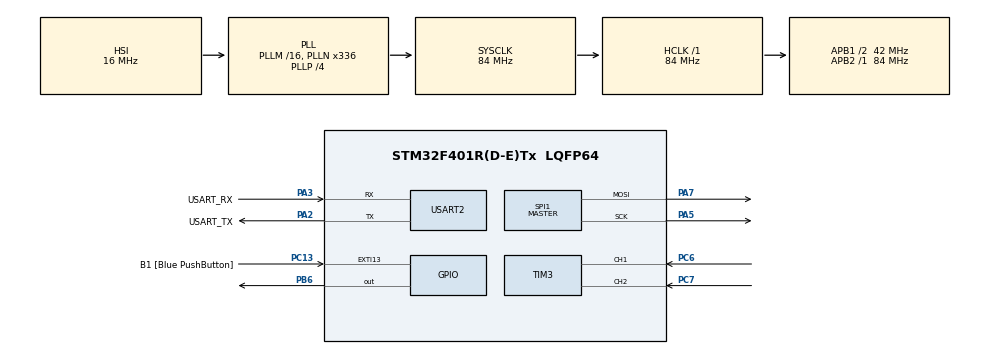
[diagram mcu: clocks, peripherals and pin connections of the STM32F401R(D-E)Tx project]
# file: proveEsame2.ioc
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Dma.Request0=SPI1_TX
Dma.SPI1_TX.0.Direction=DMA_MEMORY_TO_PERIPH
Dma.SPI1_TX.0.FIFOMode=DMA_FIFOMODE_DISABLE
Dma.SPI1_TX.0.Instance=DMA2_Stream3
Dma.SPI1_TX.0.MemDataAlignment=DMA_MDATAALIGN_BYTE
Dma.SPI1_TX.0.MemInc=DMA_MINC_ENABLE
Dma.SPI1_TX.0.Mode=DMA_NORMAL
Dma.SPI1_TX.0.PeriphDataAlignment=DMA_PDATAALIGN_BYTE
Dma.SPI1_TX.0.PeriphInc=DMA_PINC_DISABLE
Dma.SPI1_TX.0.Priority=DMA_PRIORITY_LOW
Mcu.Family=STM32F4
Mcu.Name=STM32F401R(D-E)Tx
Mcu.Package=LQFP64
NVIC.DMA2_Stream3_IRQn=true\:0\:0\:false\:false\:true\:false\:true
NVIC.PriorityGroup=NVIC_PRIORITYGROUP_0
NVIC.SPI1_IRQn=true\:0\:0\:false\:false\:true\:true\:true
NVIC.TIM1_UP_TIM10_IRQn=true\:0\:0\:false\:false\:true\:true\:true
PA13.GPIO_Label=TMS
PA13.Mode=Serial_Wire
PA13.Signal=SYS_JTMS-SWDIO
PA14.GPIO_Label=TCK
PA14.Mode=Serial_Wire
PA14.Signal=SYS_JTCK-SWCLK
PA2.GPIO_Label=USART_TX
PA2.GPIO_Mode=GPIO_MODE_AF_PP
PA2.GPIO_PuPd=GPIO_NOPULL
PA2.GPIO_Speed=GPIO_SPEED_FREQ_LOW
PA2.Mode=Asynchronous
PA2.Signal=USART2_TX
PA3.GPIO_Label=USART_RX
PA3.GPIO_Mode=GPIO_MODE_AF_PP
PA3.GPIO_PuPd=GPIO_NOPULL
PA3.GPIO_Speed=GPIO_SPEED_FREQ_LOW
PA3.Mode=Asynchronous
PA3.Signal=USART2_RX
PA5.Mode=TX_Only_Simplex_Unidirect_Master
PA5.Signal=SPI1_SCK
PA7.Mode=TX_Only_Simplex_Unidirect_Master
PA7.Signal=SPI1_MOSI
PB3.GPIO_Label=SWO
PB3.Signal=SYS_JTDO-SWO
PB6.Signal=GPIO_Output
PC13-ANTI_TAMP.GPIO_Label=B1 [Blue PushButton]
PC13-ANTI_TAMP.GPIO_ModeDefaultEXTI=GPIO_MODE_IT_FALLING
PC13-ANTI_TAMP.GPIO_PuPd=GPIO_NOPULL
PC13-ANTI_TAMP.Signal=GPXTI13
PC14-OSC32_IN.Mode=LSE-External-Oscillator
PC14-OSC32_IN.Signal=RCC_OSC32_IN
PC15-OSC32_OUT.Mode=LSE-External-Oscillator
PC15-OSC32_OUT.Signal=RCC_OSC32_OUT
PC6.Signal=S_TIM3_CH1
PC7.Signal=S_TIM3_CH2
PH0\ -\ OSC_IN.Mode=HSE-External-Clock-Source
PH0\ -\ OSC_IN.Signal=RCC_OSC_IN
PH1\ -\ OSC_OUT.Mode=HSE-External-Clock-Source
PH1\ -\ OSC_OUT.Signal=RCC_OSC_OUT
ProjectManager.HeapSize=0x200
ProjectManager.StackSize=0x400
ProjectManager.TargetToolchain=STM32CubeIDE
RCC.48MHZClocksFreq_Value=48000000
RCC.AHBFreq_Value=84000000
RCC.APB1CLKDivider=RCC_HCLK_DIV2
RCC.APB1Freq_Value=42000000
RCC.APB1TimFreq_Value=84000000
RCC.APB2Freq_Value=84000000
RCC.APB2TimFreq_Value=84000000
RCC.CortexFreq_Value=84000000
RCC.HCLKFreq_Value=84000000
RCC.HSE_VALUE=8000000
RCC.HSI_VALUE=16000000
RCC.PLLN=336
RCC.PLLP=RCC_PLLP_DIV4
RCC.PLLQ=7
RCC.SYSCLKFreq_VALUE=84000000
RCC.SYSCLKSource=RCC_SYSCLKSOURCE_PLLCLK
RCC.VCOOutputFreq_Value=336000000
SH.S_TIM3_CH1.0=TIM3_CH1,Encoder_Interface
SH.S_TIM3_CH2.0=TIM3_CH2,Encoder_Interface
SPI1.BaudRatePrescaler=SPI_BAUDRATEPRESCALER_8
SPI1.Direction=SPI_DIRECTION_2LINES
SPI1.Mode=SPI_MODE_MASTER
SPI1.VirtualType=VM_MASTER
TIM10.Period=40-1
TIM10.Prescaler=4800-1
TIM3.IC1Polarity=TIM_ICPOLARITY_RISING
TIM3.IC2Polarity=TIM_ICPOLARITY_FALLING
USART2.VirtualMode=VM_ASYNC
VP_TIM10_VS_ClockSourceINT.Mode=Enable_Timer
board=NUCLEO-F401RE

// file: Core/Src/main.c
/* USER CODE BEGIN Header */
/**
 ******************************************************************************
 * @file           : main.c
 * @brief          : Main program body
 ******************************************************************************
 * @attention
 *
 * <h2><center>&copy; Copyright (c) 2022 STMicroelectronics.
 * All rights reserved.</center></h2>
 *
 * This software component is licensed by ST under BSD 3-Clause license,
 * the "License"; You may not use this file except in compliance with the
 * License. You may obtain a copy of the License at:
 *                        opensource.org/licenses/BSD-3-Clause
 *
 ******************************************************************************
 */
/* USER CODE END Header */
#include "main.h"

SPI_HandleTypeDef hspi1;
DMA_HandleTypeDef hdma_spi1_tx;

TIM_HandleTypeDef htim3;
TIM_HandleTypeDef htim10;

UART_HandleTypeDef huart2;

void SystemClock_Config(void);
static void MX_GPIO_Init(void);
static void MX_USART2_UART_Init(void);
static void MX_DMA_Init(void);
static void MX_SPI1_Init(void);
static void MX_TIM10_Init(void);
static void MX_TIM3_Init(void);

/* USER CODE BEGIN 0 */
int nCol = 0;

uint8_t **letter;
uint8_t letter_A[7][5] = { { 30, 16 }, { 36, 8 }, { 68, 4 }, { 36, 2 },
		{ 31, 1 } };

/* USER CODE END 0 */

int main(void) {

	/* MCU Configuration--------------------------------------------------------*/

	/* Reset of all peripherals, Initializes the Flash interface and the Systick. */
	HAL_Init();

	/* Configure the system clock */
	SystemClock_Config();

	/* USER CODE BEGIN SysInit */
	MX_DMA_Init();
	/* USER CODE END SysInit */

	/* Initialize all configured peripherals */
	MX_GPIO_Init();
	MX_USART2_UART_Init();
	MX_DMA_Init();
	MX_SPI1_Init();
	MX_TIM10_Init();
	MX_TIM3_Init();
	/* USER CODE BEGIN 2 */
	HAL_TIM_Base_Start_IT(&htim10);
	HAL_TIM_Encoder_Start(&htim3, TIM_CHANNEL_ALL);
	/* USER CODE END 2 */

	/* Infinite loop */
	/* USER CODE BEGIN WHILE */
	char msg[64];
	while (1) {
		int len = sprintf(msg, "encoder: %d\r\n",
				__HAL_TIM_GET_COUNTER(&htim3));
		HAL_UART_Transmit(&huart2, msg, len, 1000);
		letter = letter_A;
		HAL_Delay(500);
		letter = letter_A;
		HAL_Delay(500);
		/* USER CODE END WHILE */

	}
}

void SystemClock_Config(void) {
	RCC_OscInitTypeDef RCC_OscInitStruct = { 0 };
	RCC_ClkInitTypeDef RCC_ClkInitStruct = { 0 };

	/** Configure the main internal regulator output voltage
	 */
	__HAL_RCC_PWR_CLK_ENABLE();
	__HAL_PWR_VOLTAGESCALING_CONFIG(PWR_REGULATOR_VOLTAGE_SCALE2);
	/** Initializes the RCC Oscillators according to the specified parameters
	 * in the RCC_OscInitTypeDef structure.
	 */
	RCC_OscInitStruct.OscillatorType = RCC_OSCILLATORTYPE_HSI;
	RCC_OscInitStruct.HSIState = RCC_HSI_ON;
	RCC_OscInitStruct.HSICalibrationValue = RCC_HSICALIBRATION_DEFAULT;
	RCC_OscInitStruct.PLL.PLLState = RCC_PLL_ON;
	RCC_OscInitStruct.PLL.PLLSource = RCC_PLLSOURCE_HSI;
	RCC_OscInitStruct.PLL.PLLM = 16;
	RCC_OscInitStruct.PLL.PLLN = 336;
	RCC_OscInitStruct.PLL.PLLP = RCC_PLLP_DIV4;
	RCC_OscInitStruct.PLL.PLLQ = 7;
	if (HAL_RCC_OscConfig(&RCC_OscInitStruct) != HAL_OK) {
		Error_Handler();
	}
	/** Initializes the CPU, AHB and APB buses clocks
	 */
	RCC_ClkInitStruct.ClockType = RCC_CLOCKTYPE_HCLK | RCC_CLOCKTYPE_SYSCLK
			| RCC_CLOCKTYPE_PCLK1 | RCC_CLOCKTYPE_PCLK2;
	RCC_ClkInitStruct.SYSCLKSource = RCC_SYSCLKSOURCE_PLLCLK;
	RCC_ClkInitStruct.AHBCLKDivider = RCC_SYSCLK_DIV1;
	RCC_ClkInitStruct.APB1CLKDivider = RCC_HCLK_DIV2;
	RCC_ClkInitStruct.APB2CLKDivider = RCC_HCLK_DIV1;

	if (HAL_RCC_ClockConfig(&RCC_ClkInitStruct, FLASH_LATENCY_2) != HAL_OK) {
		Error_Handler();
	}
}

static void MX_SPI1_Init(void) {

	/* SPI1 parameter configuration*/
	hspi1.Instance = SPI1;
	hspi1.Init.Mode = SPI_MODE_MASTER;
	hspi1.Init.Direction = SPI_DIRECTION_2LINES;
	hspi1.Init.DataSize = SPI_DATASIZE_8BIT;
	hspi1.Init.CLKPolarity = SPI_POLARITY_LOW;
	hspi1.Init.CLKPhase = SPI_PHASE_1EDGE;
	hspi1.Init.NSS = SPI_NSS_SOFT;
	hspi1.Init.BaudRatePrescaler = SPI_BAUDRATEPRESCALER_8;
	hspi1.Init.FirstBit = SPI_FIRSTBIT_MSB;
	hspi1.Init.TIMode = SPI_TIMODE_DISABLE;
	hspi1.Init.CRCCalculation = SPI_CRCCALCULATION_DISABLE;
	hspi1.Init.CRCPolynomial = 10;
	if (HAL_SPI_Init(&hspi1) != HAL_OK) {
		Error_Handler();
	}

}

static void MX_TIM3_Init(void) {

	TIM_Encoder_InitTypeDef sConfig = { 0 };
	TIM_MasterConfigTypeDef sMasterConfig = { 0 };

	htim3.Instance = TIM3;
	htim3.Init.Prescaler = 0;
	htim3.Init.CounterMode = TIM_COUNTERMODE_UP;
	htim3.Init.Period = 65535;
	htim3.Init.ClockDivision = TIM_CLOCKDIVISION_DIV1;
	htim3.Init.AutoReloadPreload = TIM_AUTORELOAD_PRELOAD_DISABLE;
	sConfig.EncoderMode = TIM_ENCODERMODE_TI1;
	sConfig.IC1Polarity = TIM_ICPOLARITY_RISING;
	sConfig.IC1Selection = TIM_ICSELECTION_DIRECTTI;
	sConfig.IC1Prescaler = TIM_ICPSC_DIV1;
	sConfig.IC1Filter = 0;
	sConfig.IC2Polarity = TIM_ICPOLARITY_FALLING;
	sConfig.IC2Selection = TIM_ICSELECTION_DIRECTTI;
	sConfig.IC2Prescaler = TIM_ICPSC_DIV1;
	sConfig.IC2Filter = 0;
	if (HAL_TIM_Encoder_Init(&htim3, &sConfig) != HAL_OK) {
		Error_Handler();
	}
	sMasterConfig.MasterOutputTrigger = TIM_TRGO_RESET;
	sMasterConfig.MasterSlaveMode = TIM_MASTERSLAVEMODE_DISABLE;
	if (HAL_TIMEx_MasterConfigSynchronization(&htim3, &sMasterConfig)
			!= HAL_OK) {
		Error_Handler();
	}

}

static void MX_TIM10_Init(void) {

	htim10.Instance = TIM10;
	htim10.Init.Prescaler = 4800 - 1;
	htim10.Init.CounterMode = TIM_COUNTERMODE_UP;
	htim10.Init.Period = 40 - 1;
	htim10.Init.ClockDivision = TIM_CLOCKDIVISION_DIV1;
	htim10.Init.AutoReloadPreload = TIM_AUTORELOAD_PRELOAD_DISABLE;
	if (HAL_TIM_Base_Init(&htim10) != HAL_OK) {
		Error_Handler();
	}

}

static void MX_USART2_UART_Init(void) {

	huart2.Instance = USART2;
	huart2.Init.BaudRate = 115200;
	huart2.Init.WordLength = UART_WORDLENGTH_8B;
	huart2.Init.StopBits = UART_STOPBITS_1;
	huart2.Init.Parity = UART_PARITY_NONE;
	huart2.Init.Mode = UART_MODE_TX_RX;
	huart2.Init.HwFlowCtl = UART_HWCONTROL_NONE;
	huart2.Init.OverSampling = UART_OVERSAMPLING_16;
	if (HAL_UART_Init(&huart2) != HAL_OK) {
		Error_Handler();
	}

}

static void MX_DMA_Init(void) {

	/* DMA controller clock enable */
	__HAL_RCC_DMA2_CLK_ENABLE();

	/* DMA interrupt init */
	/* DMA2_Stream3_IRQn interrupt configuration */
	HAL_NVIC_SetPriority(DMA2_Stream3_IRQn, 0, 0);
	HAL_NVIC_EnableIRQ(DMA2_Stream3_IRQn);

}

static void MX_GPIO_Init(void) {
	GPIO_InitTypeDef GPIO_InitStruct = { 0 };

	/* GPIO Ports Clock Enable */
	__HAL_RCC_GPIOC_CLK_ENABLE();
	__HAL_RCC_GPIOH_CLK_ENABLE();
	__HAL_RCC_GPIOA_CLK_ENABLE();
	__HAL_RCC_GPIOB_CLK_ENABLE();

	/*Configure GPIO pin Output Level */
	HAL_GPIO_WritePin(GPIOB, GPIO_PIN_6, GPIO_PIN_RESET);

	/*Configure GPIO pin : B1_Pin */
	GPIO_InitStruct.Pin = B1_Pin;
	GPIO_InitStruct.Mode = GPIO_MODE_IT_FALLING;
	GPIO_InitStruct.Pull = GPIO_NOPULL;
	HAL_GPIO_Init(B1_GPIO_Port, &GPIO_InitStruct);

	/*Configure GPIO pin : PB6 */
	GPIO_InitStruct.Pin = GPIO_PIN_6;
	GPIO_InitStruct.Mode = GPIO_MODE_OUTPUT_PP;
	GPIO_InitStruct.Pull = GPIO_NOPULL;
	GPIO_InitStruct.Speed = GPIO_SPEED_FREQ_LOW;
	HAL_GPIO_Init(GPIOB, &GPIO_InitStruct);

}

/* USER CODE BEGIN 4 */
void HAL_TIM_PeriodElapsedCallback(TIM_HandleTypeDef *htim) {
	if (htim == &htim10) {
		if (nCol < 5) {
			HAL_SPI_Transmit(&hspi1, letter_A[nCol], 2, 1000);
			HAL_GPIO_WritePin(GPIOB, GPIO_PIN_6, GPIO_PIN_SET);
			HAL_GPIO_WritePin(GPIOB, GPIO_PIN_6, GPIO_PIN_RESET);
			nCol = (nCol + 1) % 5;
		}
	}
}

void HAL_SPI_TxCpltCallback(SPI_HandleTypeDef *hspi) {
}

/* USER CODE END 4 */

void Error_Handler(void) {
	__disable_irq();
	while (1) {
	}
}

/************************ (C) COPYRIGHT STMicroelectronics *****END OF FILE****/
